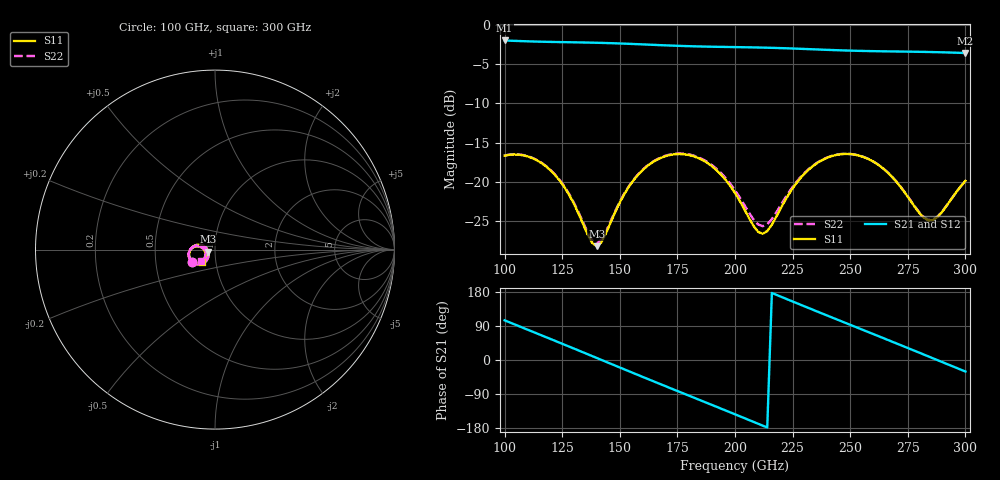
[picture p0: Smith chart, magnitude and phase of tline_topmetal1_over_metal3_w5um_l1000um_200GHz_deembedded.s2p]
! Created with skrf 2.2.0 (http://scikit-rf.org).
# GHz S DB R 50.0
! Port[1] = P1
! Port[2] = P2
!freq dBS11 angS11 dBS21 angS21 dBS12 angS12 dBS22 angS22
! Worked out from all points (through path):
!   101 points, 100 GHz to 300 GHz, reference 50 ohm
!   highest |S21| = -1.95 dB at 100 GHz (marker M1); lowest = -3.6 dB at 300 GHz (marker M2)
!   group delay of S21, straight-line fit = 6.87 ps
!   lowest |S11| = -28.2 dB at 140 GHz (marker M3), VSWR 1.08, Z = 46.4 - j1.07 ohm
!   |S11| at or under -10 dB: start of sweep to end of sweep
!   |S22| runs from -27.9 to -16.4 dB; largest |S21 - S12| = 8.4e-14
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100  -16.67 -152.5  -1.95 104.7  -1.95 104.7  -16.65 -152.4
108  -16.62 -168.5  -2.04 84.9  -2.04 84.9  -16.59 -168.2
116  -17.62 176.5  -2.11 65.2  -2.11 65.2  -17.58 177.1
126  -20.72 162.4  -2.17 40.4  -2.17 40.4  -20.63 163.4
134  -25.37 165.7  -2.21 20.4  -2.21 20.4  -25.16 166.9
140  -28.24 -162.7  -2.24 5.4  -2.24 5.4  -27.88 -162.7
152  -21.56 -127.7  -2.36 -24.8  -2.36 -24.8  -21.48 -128.2
160  -18.49 -136.2  -2.45 -44.8  -2.45 -44.8  -18.44 -136.2
168  -16.93 -149.3  -2.55 -64.6  -2.55 -64.6  -16.87 -148.9
176  -16.46 -163.5  -2.64 -84.3  -2.64 -84.3  -16.39 -162.8
184  -16.97 -177.3  -2.71 -103.9  -2.71 -103.9  -16.87 -176.2
200  -21.44 164.4  -2.80 -143.3  -2.80 -143.3  -21.09 166.6
212  -26.66 -162.9  -2.86 -173.2  -2.86 -173.2  -25.69 -164.2
222  -22.26 -132.1  -2.95 161.9  -2.95 161.9  -21.97 -135.8
234  -17.96 -140.7  -3.08 132.1  -3.08 132.1  -17.90 -143.1
242  -16.73 -152.7  -3.17 112.5  -3.17 112.5  -16.70 -154.6
250  -16.47 -165.6  -3.25 92.9  -3.25 92.9  -16.45 -167.1
258  -17.12 -177.8  -3.30 73.4  -3.30 73.4  -17.10 -179.1
268  -19.33 170.9  -3.35 48.9  -3.35 48.9  -19.31 169.7
284  -24.95 -166.9  -3.42 9.3  -3.42 9.3  -24.86 -168.3
288  -24.49 -151.3  -3.45 -0.6  -3.45 -0.6  -24.43 -153.0
300  -19.89 -137.6  -3.55 -30.4  -3.55 -30.4  -19.91 -139.4
